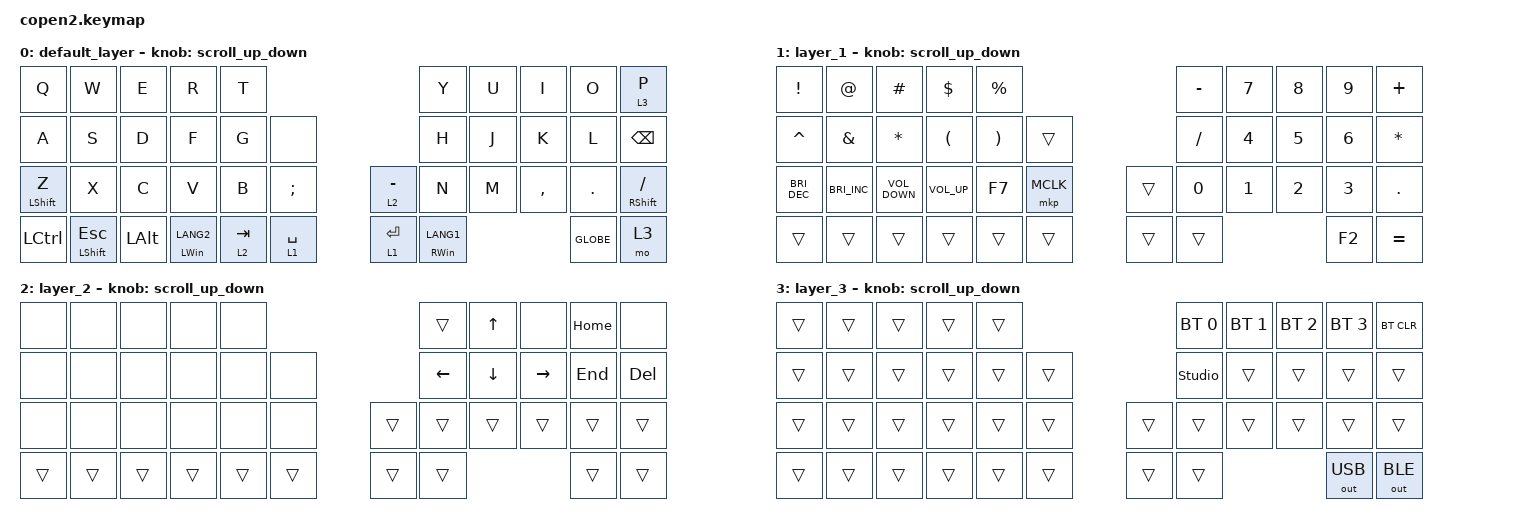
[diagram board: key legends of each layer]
#include <behaviors.dtsi>
#include <dt-bindings/zmk/bt.h>
#include <dt-bindings/zmk/keys.h>
#include <dt-bindings/zmk/outputs.h>
#include <dt-bindings/zmk/pointing.h>

#define ZMK_POINTING_DEFAULT_SCRL_VAL 100
#define MOUSE 6

&mt {
    flavor = "balanced";
    quick-tap-ms = <0>;
};

/ {
    // combos { compatible = "zmk,combos"; };

    macros {
        to_layer_0: to_layer_0 {
            compatible = "zmk,behavior-macro-one-param";
            #binding-cells = <1>;
            bindings = <&to 0 &macro_param_1to1 &kp MACRO_PLACEHOLDER>;
            label = "TO_LAYER_0";
        };
    };

    behaviors {
        lt_to_layer_0: lt_to_layer_0 {
            compatible = "zmk,behavior-hold-tap";
            label = "LAYER_TAP_TO_0";
            bindings = <&mo>, <&to_layer_0>;

            #binding-cells = <2>;
            tapping-term-ms = <200>;
        };

        scroll_up_down: behavior_sensor_rotate_mouse_wheel_up_down {
            compatible = "zmk,behavior-sensor-rotate";
            #sensor-binding-cells = <0>;
            bindings = <&msc SCRL_UP>, <&msc SCRL_DOWN>;

            tap-ms = <20>;
        };
    };

    keymap {
        compatible = "zmk,keymap";

        default_layer {
            bindings = <
&kp Q             &kp W                     &kp E           &kp R               &kp T                                                  &kp Y                  &kp U            &kp I        &kp O           &lt 3 P
&kp A             &kp S                     &kp D           &kp F               &kp G        &none                                     &kp H                  &kp J            &kp K        &kp L           &kp BACKSPACE
&mt LEFT_SHIFT Z  &kp X                     &kp C           &kp V               &kp B        &kp SEMICOLON        &lt 2 MINUS          &kp N                  &kp M            &kp COMMA     &kp DOT        &mt RIGHT_SHIFT SLASH
&kp LCTRL         &mt LEFT_SHIFT ESCAPE     &kp LEFT_ALT    &mt LEFT_WIN LANG2  &lt 2 TAB    &lt 1 SPACE          &lt 1 ENTER          &mt RIGHT_WIN LANG1                                          &kp GLOBE    &mo 3
            >;

            sensor-bindings = <&scroll_up_down>;
        };

        layer_1 {
            bindings = <
&kp EXCLAMATION         &kp AT_SIGN             &kp HASH          &kp DOLLAR              &kp PERCENT                                             &kp MINUS   &kp NUM_7  &kp NUM_8  &kp NUM_9  &kp PLUS
&kp CARET               &kp AMPERSAND           &kp ASTERISK      &kp LEFT_PARENTHESIS    &kp RIGHT_PARENTHESIS   &trans                          &kp SLASH   &kp NUM_4  &kp NUM_5  &kp NUM_6  &kp ASTERISK  
&kp C_BRIGHTNESS_DEC    &kp C_BRIGHTNESS_INC    &kp C_VOLUME_DOWN &kp C_VOLUME_UP         &kp F7                  &mkp MCLK           &trans      &kp NUM_0   &kp NUM_1  &kp NUM_2  &kp NUM_3  &kp PERIOD      
&trans                  &trans                  &trans            &trans                  &trans                  &trans              &trans      &trans                            &kp F2     &kp EQUAL          
            >;

            sensor-bindings = <&scroll_up_down>;
        };

        layer_2 {
            bindings = <
&none           &none           &none           &none          &none                                            &trans  &kp UP_ARROW      &none            &kp HOME       &none
&none           &none           &none           &none          &none          &none                             &kp LEFT_ARROW  &kp DOWN_ARROW    &kp RIGHT_ARROW  &kp END        &kp DELETE 
&none           &none           &none           &none          &none          &none             &trans          &trans          &trans            &trans           &trans         &trans
&trans          &trans          &trans          &trans         &trans         &trans            &trans          &trans                                             &trans         &trans
            >;

            sensor-bindings = <&scroll_up_down>;
        };

        layer_3 {
            bindings = <
&trans          &trans          &trans          &trans         &trans                                           &bt BT_SEL 0    &bt BT_SEL 1      &bt BT_SEL 2     &bt BT_SEL 3   &bt BT_CLR
&trans          &trans          &trans          &trans         &trans         &trans                            &studio_unlock  &trans            &trans           &trans         &trans
&trans          &trans          &trans          &trans         &trans         &trans            &trans          &trans          &trans            &trans           &trans         &trans
&trans          &trans          &trans          &trans         &trans         &trans            &trans          &trans                                             &out OUT_USB   &out OUT_BLE
            >;

            sensor-bindings = <&scroll_up_down>;
        };

    };
};



















// #include <behaviors.dtsi>
// #include <dt-bindings/zmk/bt.h>
// #include <dt-bindings/zmk/keys.h>
// #include <dt-bindings/zmk/pointing.h>

// // #define ZMK_POINTING_DEFAULT_MOVE_VAL 800
// // #define ZMK_POINTING_DEFAULT_SCRL_VAL 120

// #include <input/processors.dtsi>
// #include <zephyr/dt-bindings/input/input-event-codes.h>

// #define NUM 1
// #define BLT 2

// &mt {
//     flavor = "balanced";
//     quick-tap-ms = <0>;
// };

// // &mmv {
// //     delay-ms = <0>;
// //     trigger-period-ms = <10>;
// //     time-to-max-speed-ms = <0>;
// //     acceleration-exponent = <1>;
// // };

// // &msc {
// //     delay-ms = <0>;
// //     trigger-period-ms = <10>;
// //     time-to-max-speed-ms = <0>;
// //     acceleration-exponent = <0>;
// // };

// // &trackball_listener {
// //     scroller {
// //         layers = <2>;
// //         input-processors = <&zip_xy_to_scroll_mapper>;
// //     };

// // };

// / {
//     // behaviors {
//     //     rot_kp: sensor_rotate_kp {
//     //         compatible = "zmk,behavior-sensor-rotate-var";
//     //         #sensor-binding-cells = <2>;
//     //         bindings = <&kp>, <&kp>;
//     //     };

//     //     mouse_click: mouse_button_kp {
//     //         compatible = "zmk,behavior-sensor-rotate-var";
//     //         #sensor-binding-cells = <2>;
//     //         bindings = <&mkp>, <&mkp>;
//     //     };

//     //     mouse_mv: mouse_cursor_move {
//     //         compatible = "zmk,behavior-sensor-rotate-var";
//     //         #sensor-binding-cells = <2>;
//     //         bindings = <&mmv>, <&mmv>;
//     //         tap-ms = <10>;
//     //     };

//     //     mouse_scrl: mouse_wheel_scrl {
//     //         compatible = "zmk,behavior-sensor-rotate-var";
//     //         #sensor-binding-cells = <2>;
//     //         bindings = <&msc>, <&msc>;
//     //         tap-ms = <10>;
//     //     };

//     //     ul_move: move_up_left {
//     //         compatible = "zmk,behavior-mod-morph";
//     //         label = "MOVE UP LEFT";
//     //         #binding-cells = <0>;
//     //         bindings = <&mmv MOVE_UP>, <&mmv MOVE_LEFT>;
//     //         mods = <MOD_LALT>;
//     //     };

//     //     dr_move: move_down_right {
//     //         compatible = "zmk,behavior-mod-morph";
//     //         label = "MOVE DOWN RIGHT";
//     //         #binding-cells = <0>;
//     //         bindings = <&mmv MOVE_DOWN>, <&mmv MOVE_RIGHT>;
//     //         mods = <MOD_LALT>;
//     //     };

//     //     uldr_move: move_up_left_down_right {
//     //         compatible = "zmk,behavior-sensor-rotate";
//     //         #sensor-binding-cells = <0>;
//     //         bindings = <&ul_move>, <&dr_move>;
//     //         tap-ms = <10>;
//     //     };
//     // };




//     keymap {
//         compatible = "zmk,keymap";

//         default_layer {
//             bindings = <
//                 &kp Q             &kp W                 &kp E         &kp R                    &kp T                                                      &kp Y                      &kp U       &kp I            &kp O        &kp P
//                 &kp A             &kp S                 &kp D         &kp F                    &kp G        &none                                         &kp H                      &kp J       &kp K            &kp L        &mt RCTRL ENTER
//                 &mt LEFT_SHIFT Z  &kp X                 &kp C         &kp V                    &kp B        &lt BLT SEMICOLON          &lt BLT MINUS      &kp N                      &kp M       &mkp LCLK        &mkp RCLK    &mt RSHIFT SLASH
//                 &kp LCTRL         &mt ESC LSHIFT        &mt LALT      &mt LEFT_WIN ENTER       &kp SPACE    &lt NUM ENTER                &lt NUM BACKSPACE  &mt INT_HENKAN RIGHT_WIN                                &kp COMMA    &kp DOT
//             >;
//             // sensor-bindings = <&uldr_move>, <&uldr_move>;
//         };

//         NUM {
//             bindings = <
//                 &kp EXCLAMATION         &kp AT_SIGN             &kp HASH        &kp DOLLAR              &kp PERCENT                                             &kp MINUS        &kp KP_NUMBER_7  &kp KP_NUMBER_8  &kp KP_NUMBER_9  &kp PLUS
//                 &kp CARET               &kp AMPERSAND           &kp ASTERISK    &kp LEFT_PARENTHESIS    &kp RIGHT_PARENTHESIS   &trans                          &kp SLASH        &kp KP_NUMBER_4  &kp KP_NUMBER_5  &kp KP_NUMBER_6  &kp ASTERISK  
//                 &kp C_BRIGHTNESS_INC    &kp C_BRIGHTNESS_DEC    &kp C_VOLUME_UP &kp C_VOLUME_DOWN       &none                   &mkp MCLK           &trans      &kp KP_NUMBER_0  &kp KP_NUMBER_1  &kp KP_NUMBER_2  &kp KP_NUMBER_3  &kp PERIOD      
//                 &kp F7                  &trans                  &trans          &trans                  &trans                  &trans              &kp DELETE  &kp F2                                             &trans           &kp EQUAL          
//             >;
//             // sensor-bindings = <&uldr_move>, <&uldr_move>;
//         };

//         BLT {
//             bindings = <
//                 &none          &kp UP_ARROW      &none              &none      &kp HOME                          &trans &trans &trans &bt BT_CLR  &bt BT_SEL 0
//                 &kp LEFT_ARROW  &kp DOWN_ARROW  &kp RIGHT_ARROW     &none      &kp END  &none                    &trans &trans &trans &trans      &bt BT_SEL 1
//                 &none          &none            &none               &none      &none    &none             &trans &trans &trans &trans &trans      &bt BT_SEL 2
//                 &none          &none            &trans              &trans     &trans   &trans            &trans &trans               &trans      &bt BT_SEL 3
//             >;
//             // sensor-bindings = <&uldr_move>, <&uldr_move>;
//         };

//     };
// };
